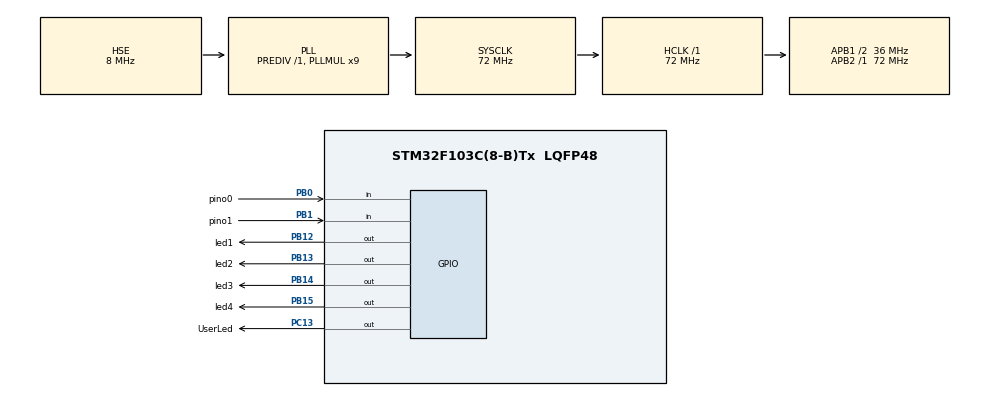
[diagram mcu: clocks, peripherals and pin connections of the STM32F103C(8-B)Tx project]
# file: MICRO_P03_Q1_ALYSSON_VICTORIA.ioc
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Mcu.Family=STM32F1
Mcu.Name=STM32F103C(8-B)Tx
Mcu.Package=LQFP48
NVIC.PriorityGroup=NVIC_PRIORITYGROUP_4
PA13.Mode=Serial_Wire
PA13.Signal=SYS_JTMS-SWDIO
PA14.Mode=Serial_Wire
PA14.Signal=SYS_JTCK-SWCLK
PB0.GPIO_Label=pino0
PB0.GPIO_PuPd=GPIO_PULLUP
PB0.Signal=GPIO_Input
PB1.GPIO_Label=pino1
PB1.GPIO_PuPd=GPIO_PULLUP
PB1.Signal=GPIO_Input
PB12.GPIO_Label=led1
PB12.GPIO_Speed=GPIO_SPEED_FREQ_LOW
PB12.PinState=GPIO_PIN_SET
PB12.Signal=GPIO_Output
PB13.GPIO_Label=led2
PB13.GPIO_Speed=GPIO_SPEED_FREQ_LOW
PB13.PinState=GPIO_PIN_SET
PB13.Signal=GPIO_Output
PB14.GPIO_Label=led3
PB14.GPIO_Speed=GPIO_SPEED_FREQ_LOW
PB14.PinState=GPIO_PIN_SET
PB14.Signal=GPIO_Output
PB15.GPIO_Label=led4
PB15.GPIO_Speed=GPIO_SPEED_FREQ_LOW
PB15.PinState=GPIO_PIN_SET
PB15.Signal=GPIO_Output
PC13-TAMPER-RTC.GPIO_Label=UserLed
PC13-TAMPER-RTC.PinState=GPIO_PIN_SET
PC13-TAMPER-RTC.Signal=GPIO_Output
PD0-OSC_IN.Mode=HSE-External-Oscillator
PD0-OSC_IN.Signal=RCC_OSC_IN
PD1-OSC_OUT.Mode=HSE-External-Oscillator
PD1-OSC_OUT.Signal=RCC_OSC_OUT
ProjectManager.HeapSize=0x200
ProjectManager.StackSize=0x400
ProjectManager.TargetToolchain=STM32CubeIDE
RCC.AHBFreq_Value=72000000
RCC.APB1CLKDivider=RCC_HCLK_DIV2
RCC.APB1Freq_Value=36000000
RCC.APB1TimFreq_Value=72000000
RCC.APB2Freq_Value=72000000
RCC.APB2TimFreq_Value=72000000
RCC.HCLKFreq_Value=72000000
RCC.PLLMUL=RCC_PLL_MUL9
RCC.PLLSourceVirtual=RCC_PLLSOURCE_HSE
RCC.SYSCLKFreq_VALUE=72000000
RCC.SYSCLKSource=RCC_SYSCLKSOURCE_PLLCLK
RCC.USBFreq_Value=72000000
board=custom

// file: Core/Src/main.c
/* USER CODE BEGIN Header */
/**
  ******************************************************************************
  * @file           : main.c
  * @brief          : Questão 1 - Foregroung-Background + Superloop modularizado
  * @author         : Alysson Lucas Pontes Cavalcante da Silva e Maria Victória Martins Neves
  * @date           : 13/04/2026
  * @details        : Reestruturar a questão 4 do projeto 2 com funções e ponteiros
  ******************************************************************************
  */
/* USER CODE END Header */

#include "main.h"

void SystemClock_Config(void);
static void MX_GPIO_Init(void);
/* USER CODE BEGIN PFP */

/* Prototipação das funções criadas */
void Ler_Botoes(int *estado_atual);
void Verificar_Mudanca_Estado(int estado_atual, int *estado_anterior, int *sequencia, int *estado_leds);
void Estado_0(uint32_t tempo_atual, uint32_t *timeON_0, int *estado_leds);
void Estado_1(uint32_t tempo_atual, uint32_t *timeD1_1, uint32_t *timeON_D2_1);
void Estado_2(uint32_t tempo_atual, uint32_t *tempo500, int *sequencia);
void Estado_3(void);
void UserLed(uint32_t tempo_atual, uint32_t *time_UserLed);

/* USER CODE END PFP */

int main(void)
{

  /* USER CODE BEGIN 1 */

	// DEFINIÇÃO DE VARIÁVEIS LOCAIS (Ficam na stack da main)
	uint32_t tempo_atual = HAL_GetTick();

	// Variáveis para salvar os tempos
	uint32_t timeON_0 = tempo_atual;
	uint32_t timeD1_1 = tempo_atual;
    uint32_t timeON_D2_1 = tempo_atual;
	uint32_t tempo500 = tempo_atual;
	uint32_t time_UserLed = tempo_atual;

	// Variáveis para salvar os estados
	int	estado_atual = 0;
    int estado_anterior = 0;
    int estado_leds = 0;
	int	sequencia = 1;	// Auxiliar para o terceiro caso

  /* USER CODE END 1 */

  /* MCU Configuration--------------------------------------------------------*/

  /* Reset of all peripherals, Initializes the Flash interface and the Systick. */
  HAL_Init();

  /* Configure the system clock */
  SystemClock_Config();

  /* Initialize all configured peripherals */
  MX_GPIO_Init();

  /* Infinite loop */
  /* USER CODE BEGIN WHILE */

  while (1)
  {
	  // Atualiza o tempo atual em milissegundos
	  tempo_atual = HAL_GetTick();

	  // 1. Identificação do estado (passando o endereço de estado_atual)
	  Ler_Botoes(&estado_atual);

	  // 2. Reinício do sistema caso o estado mude
	  Verificar_Mudanca_Estado(estado_atual, &estado_anterior, &sequencia, &estado_leds);

	  // 3. Máquina de Estados (Delay Não Blocante)
	  switch (estado_atual) //Poderia ter sido colocado como uma função
      {
          case 0:
              Estado_0(tempo_atual, &timeON_0, &estado_leds);
              break;

          case 1:
              Estado_1(tempo_atual, &timeD1_1, &timeON_D2_1);
              break;

          case 2:
              Estado_2(tempo_atual, &tempo500, &sequencia);
              break;

          case 3:
              Estado_3();
              break;

          default:
              estado_atual = 0;
              break;
	  }

	  // 4. Controle independente do LED da placa
	  UserLed(tempo_atual, &time_UserLed);

    /* USER CODE END WHILE */

  }
}

void SystemClock_Config(void)
{
  RCC_OscInitTypeDef RCC_OscInitStruct = {0};
  RCC_ClkInitTypeDef RCC_ClkInitStruct = {0};

  /** Initializes the RCC Oscillators according to the specified parameters
  * in the RCC_OscInitTypeDef structure.
  */
  RCC_OscInitStruct.OscillatorType = RCC_OSCILLATORTYPE_HSE;
  RCC_OscInitStruct.HSEState = RCC_HSE_ON;
  RCC_OscInitStruct.HSEPredivValue = RCC_HSE_PREDIV_DIV1;
  RCC_OscInitStruct.HSIState = RCC_HSI_ON;
  RCC_OscInitStruct.PLL.PLLState = RCC_PLL_ON;
  RCC_OscInitStruct.PLL.PLLSource = RCC_PLLSOURCE_HSE;
  RCC_OscInitStruct.PLL.PLLMUL = RCC_PLL_MUL9;
  if (HAL_RCC_OscConfig(&RCC_OscInitStruct) != HAL_OK)
  {
    Error_Handler();
  }

  /** Initializes the CPU, AHB and APB buses clocks
  */
  RCC_ClkInitStruct.ClockType = RCC_CLOCKTYPE_HCLK|RCC_CLOCKTYPE_SYSCLK
                              |RCC_CLOCKTYPE_PCLK1|RCC_CLOCKTYPE_PCLK2;
  RCC_ClkInitStruct.SYSCLKSource = RCC_SYSCLKSOURCE_PLLCLK;
  RCC_ClkInitStruct.AHBCLKDivider = RCC_SYSCLK_DIV1;
  RCC_ClkInitStruct.APB1CLKDivider = RCC_HCLK_DIV2;
  RCC_ClkInitStruct.APB2CLKDivider = RCC_HCLK_DIV1;

  if (HAL_RCC_ClockConfig(&RCC_ClkInitStruct, FLASH_LATENCY_2) != HAL_OK)
  {
    Error_Handler();
  }
}

static void MX_GPIO_Init(void)
{
  GPIO_InitTypeDef GPIO_InitStruct = {0};

  /* GPIO Ports Clock Enable */
  __HAL_RCC_GPIOC_CLK_ENABLE();
  __HAL_RCC_GPIOD_CLK_ENABLE();
  __HAL_RCC_GPIOB_CLK_ENABLE();
  __HAL_RCC_GPIOA_CLK_ENABLE();

  /*Configure GPIO pin Output Level */
  HAL_GPIO_WritePin(UserLed_GPIO_Port, UserLed_Pin, GPIO_PIN_SET);

  /*Configure GPIO pin Output Level */
  HAL_GPIO_WritePin(GPIOB, led1_Pin|led2_Pin|led3_Pin|led4_Pin, GPIO_PIN_SET);

  /*Configure GPIO pin : UserLed_Pin */
  GPIO_InitStruct.Pin = UserLed_Pin;
  GPIO_InitStruct.Mode = GPIO_MODE_OUTPUT_PP;
  GPIO_InitStruct.Pull = GPIO_NOPULL;
  GPIO_InitStruct.Speed = GPIO_SPEED_FREQ_LOW;
  HAL_GPIO_Init(UserLed_GPIO_Port, &GPIO_InitStruct);

  /*Configure GPIO pins : pino0_Pin pino1_Pin */
  GPIO_InitStruct.Pin = pino0_Pin|pino1_Pin;
  GPIO_InitStruct.Mode = GPIO_MODE_INPUT;
  GPIO_InitStruct.Pull = GPIO_PULLUP;
  HAL_GPIO_Init(GPIOB, &GPIO_InitStruct);

  /*Configure GPIO pins : led1_Pin led2_Pin led3_Pin led4_Pin */
  GPIO_InitStruct.Pin = led1_Pin|led2_Pin|led3_Pin|led4_Pin;
  GPIO_InitStruct.Mode = GPIO_MODE_OUTPUT_PP;
  GPIO_InitStruct.Pull = GPIO_NOPULL;
  GPIO_InitStruct.Speed = GPIO_SPEED_FREQ_LOW;
  HAL_GPIO_Init(GPIOB, &GPIO_InitStruct);

}

/* USER CODE BEGIN 4 */

/**
 * @brief Lê os botões e atualiza o estado atual do sistema via ponteiro.
 * @param estado_atual Ponteiro para a variável que guarda o estado.
 */
void Ler_Botoes(int *estado_atual)
{
    int SW1 = HAL_GPIO_ReadPin(pino0_GPIO_Port, pino0_Pin);
    int SW2 = HAL_GPIO_ReadPin(pino1_GPIO_Port, pino1_Pin);

    if (SW1 == GPIO_PIN_SET && SW2 == GPIO_PIN_SET) {
        *estado_atual = 0;
    } else if (SW1 == GPIO_PIN_RESET && SW2 == GPIO_PIN_SET) {
        *estado_atual = 1;
    } else if (SW1 == GPIO_PIN_SET && SW2 == GPIO_PIN_RESET) {
        *estado_atual = 2;
    } else if (SW1 == GPIO_PIN_RESET && SW2 == GPIO_PIN_RESET) {
        *estado_atual = 3;
    }
}

/**
 * @brief Verifica se houve mudança de estado para reiniciar variáveis de controle.
 * @param estado_atual Valor atual do estado.
 * @param estado_anterior Ponteiro para atualizar o último estado registrado.
 * @param sequencia Ponteiro para a sequência do caso 2.
 * @param estado_leds Ponteiro para resetar o status lógico dos LEDs.
 */
void Verificar_Mudanca_Estado(int estado_atual, int *estado_anterior, int *sequencia, int *estado_leds)
{
    if (estado_atual != *estado_anterior) {
        *sequencia = 1;
        *estado_leds = 0;

        // Apaga todos os LEDs
        HAL_GPIO_WritePin(led1_GPIO_Port, led1_Pin, GPIO_PIN_SET);
        HAL_GPIO_WritePin(led2_GPIO_Port, led2_Pin, GPIO_PIN_SET);
        HAL_GPIO_WritePin(led3_GPIO_Port, led3_Pin, GPIO_PIN_SET);
        HAL_GPIO_WritePin(led4_GPIO_Port, led4_Pin, GPIO_PIN_SET);

        *estado_anterior = estado_atual;
    }
}

/**
 * @brief Lógica do Estado 0 (Pisca todos a cada 500ms).
 */
void Estado_0(uint32_t tempo_atual, uint32_t *timeON_0, int *estado_leds)
{
    if ((tempo_atual - *timeON_0) >= 500) {
        if (*estado_leds == 0) {
            *estado_leds = 1;
        } else {
            *estado_leds = 0;
        }

        HAL_GPIO_WritePin(led1_GPIO_Port, led1_Pin, *estado_leds);
        HAL_GPIO_WritePin(led2_GPIO_Port, led2_Pin, *estado_leds);
        HAL_GPIO_WritePin(led3_GPIO_Port, led3_Pin, *estado_leds);
        HAL_GPIO_WritePin(led4_GPIO_Port, led4_Pin, *estado_leds);

        *timeON_0 = tempo_atual;
    }
}

/**
 * @brief Lógica do Estado 1 (Padrões assimétricos e simétricos).
 */
void Estado_1(uint32_t tempo_atual, uint32_t *timeD1_1, uint32_t *timeON_D2_1)
{
    // LEDs 1 e 3: 100 ms acesos, 500 ms apagados
    if (HAL_GPIO_ReadPin(led1_GPIO_Port, led1_Pin) == GPIO_PIN_SET) { // Se apagados
        if ((tempo_atual - *timeD1_1) >= 500) {
            HAL_GPIO_WritePin(led1_GPIO_Port, led1_Pin, GPIO_PIN_RESET);
            HAL_GPIO_WritePin(led3_GPIO_Port, led3_Pin, GPIO_PIN_RESET);
            *timeD1_1 = tempo_atual;
        }
    } else { // Se acesos
        if ((tempo_atual - *timeD1_1) >= 100) {
            HAL_GPIO_WritePin(led1_GPIO_Port, led1_Pin, GPIO_PIN_SET);
            HAL_GPIO_WritePin(led3_GPIO_Port, led3_Pin, GPIO_PIN_SET);
            *timeD1_1 = tempo_atual;
        }
    }

    // LEDs 2 e 4: 300 ms acesos, 300 ms apagados
    if ((tempo_atual - *timeON_D2_1) >= 300) {
        HAL_GPIO_TogglePin(led2_GPIO_Port, led2_Pin);
        HAL_GPIO_TogglePin(led4_GPIO_Port, led4_Pin);
        *timeON_D2_1 = tempo_atual;
    }
}

/**
 * @brief Lógica do Estado 2 (Sequência D1->D2->D3->D4).
 */
void Estado_2(uint32_t tempo_atual, uint32_t *tempo500, int *sequencia)
{
    if ((tempo_atual - *tempo500) >= 500) {
        if (*sequencia == 1) {
            HAL_GPIO_WritePin(led1_GPIO_Port, led1_Pin, GPIO_PIN_RESET);
            HAL_GPIO_WritePin(led2_GPIO_Port, led2_Pin, GPIO_PIN_SET);
            HAL_GPIO_WritePin(led3_GPIO_Port, led3_Pin, GPIO_PIN_SET);
            HAL_GPIO_WritePin(led4_GPIO_Port, led4_Pin, GPIO_PIN_SET);
            *sequencia = 2;
        } else if (*sequencia == 2) {
            HAL_GPIO_WritePin(led2_GPIO_Port, led2_Pin, GPIO_PIN_RESET);
            HAL_GPIO_WritePin(led1_GPIO_Port, led1_Pin, GPIO_PIN_SET);
            HAL_GPIO_WritePin(led3_GPIO_Port, led3_Pin, GPIO_PIN_SET);
            HAL_GPIO_WritePin(led4_GPIO_Port, led4_Pin, GPIO_PIN_SET);
            *sequencia = 3;
        } else if (*sequencia == 3) {
            HAL_GPIO_WritePin(led3_GPIO_Port, led3_Pin, GPIO_PIN_RESET);
            HAL_GPIO_WritePin(led1_GPIO_Port, led1_Pin, GPIO_PIN_SET);
            HAL_GPIO_WritePin(led2_GPIO_Port, led2_Pin, GPIO_PIN_SET);
            HAL_GPIO_WritePin(led4_GPIO_Port, led4_Pin, GPIO_PIN_SET);
            *sequencia = 4;
        } else if (*sequencia == 4) {
            HAL_GPIO_WritePin(led4_GPIO_Port, led4_Pin, GPIO_PIN_RESET);
            HAL_GPIO_WritePin(led1_GPIO_Port, led1_Pin, GPIO_PIN_SET);
            HAL_GPIO_WritePin(led2_GPIO_Port, led2_Pin, GPIO_PIN_SET);
            HAL_GPIO_WritePin(led3_GPIO_Port, led3_Pin, GPIO_PIN_SET);
            *sequencia = 1;
        }
        *tempo500 = tempo_atual;
    }
}

/**
 * @brief Lógica do Estado 3 (Todos acesos).
 */
void Estado_3(void)
{
    HAL_GPIO_WritePin(led1_GPIO_Port, led1_Pin, GPIO_PIN_RESET);
    HAL_GPIO_WritePin(led2_GPIO_Port, led2_Pin, GPIO_PIN_RESET);
    HAL_GPIO_WritePin(led3_GPIO_Port, led3_Pin, GPIO_PIN_RESET);
    HAL_GPIO_WritePin(led4_GPIO_Port, led4_Pin, GPIO_PIN_RESET);
}

/**
 * @brief Controla o pisca do LED da placa de forma assíncrona.
 */
void UserLed(uint32_t tempo_atual, uint32_t *time_UserLed)
{
    if (HAL_GPIO_ReadPin(UserLed_GPIO_Port, UserLed_Pin) == GPIO_PIN_SET) { // Se apagado
        if ((tempo_atual - *time_UserLed) >= 1900) {
            HAL_GPIO_WritePin(UserLed_GPIO_Port, UserLed_Pin, GPIO_PIN_RESET);
            *time_UserLed = tempo_atual;
        }
    } else { // Se aceso
        if ((tempo_atual - *time_UserLed) >= 100) {
            HAL_GPIO_WritePin(UserLed_GPIO_Port, UserLed_Pin, GPIO_PIN_SET);
            *time_UserLed = tempo_atual;
        }
    }
}

/* USER CODE END 4 */

void Error_Handler(void)
{
  __disable_irq();
  while (1)
  {
  }
}
